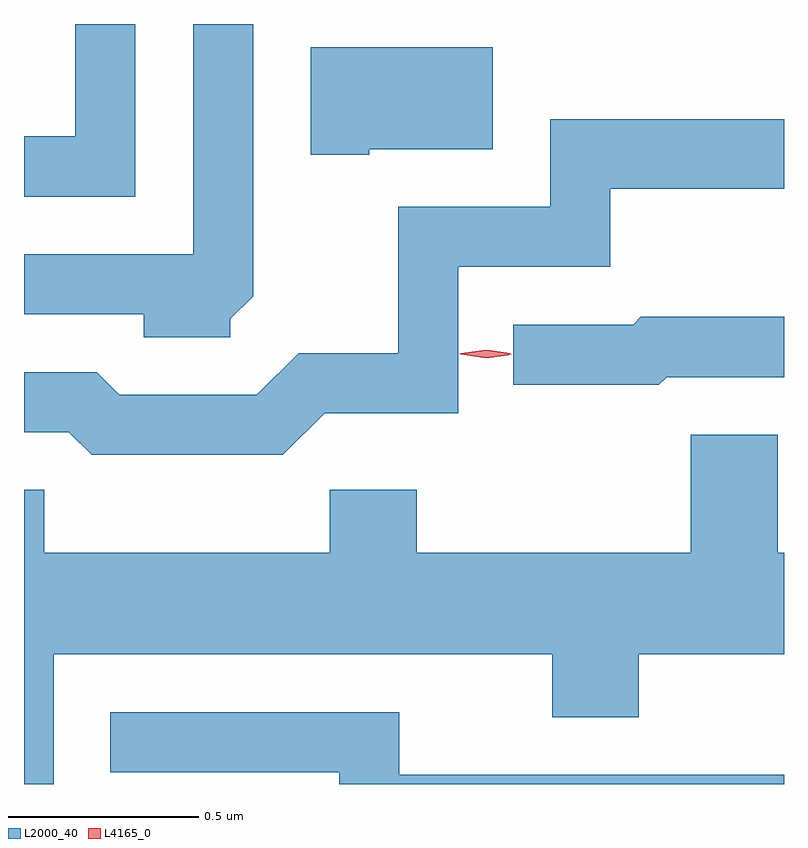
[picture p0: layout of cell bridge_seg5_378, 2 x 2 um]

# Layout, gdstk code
import gdstk
lib = gdstk.Library(unit=1e-6, precision=1e-09)
def P(c, l, *ps):  # polygons
    for p in ps: c.add(gdstk.Polygon(p, *l))
L2000_40 = (2000, 40)
L4165_0 = (4165, 0)

bridge_seg5_378 = lib.new_cell('bridge_seg5_378')
P(bridge_seg5_378, L2000_40, [(804.859,1445.135),(804.701,1445.135),(804.701,1444.839),(804.566,1444.839),(804.566,1444.681),(804.859,1444.681)],
  [(805.109,1444.359),(805.169,1444.419),(805.169,1445.135),(805.011,1445.135),(805.011,1444.529),(804.566,1444.529),(804.566,1444.371),(804.881,1444.371),(804.881,1444.311),(805.109,1444.311)],
  [(805.475,1444.806),(805.799,1444.806),(805.799,1445.074),(805.321,1445.074),(805.321,1444.791),(805.475,1444.791)],
  [(805.357,1444.111),(805.709,1444.111),(805.709,1444.496),(806.109,1444.496),(806.109,1444.701),(806.566,1444.701),(806.566,1444.884),(805.951,1444.884),(805.951,1444.654),(805.551,1444.654),(805.551,1444.269),(805.289,1444.269),(805.179,1444.159),(804.817,1444.159),(804.757,1444.219),(804.566,1444.219),(804.566,1444.061),(804.684,1444.061),(804.744,1444.001),(805.247,1444.001)],
  [(806.257,1444.206),(806.566,1444.206),(806.566,1444.364),(806.189,1444.364),(806.169,1444.344),(805.853,1444.344),(805.853,1444.186),(806.237,1444.186)],
  [(804.644,1443.476),(805.956,1443.476),(805.956,1443.311),(806.184,1443.311),(806.184,1443.476),(806.566,1443.476),(806.566,1443.744),(806.549,1443.744),(806.549,1444.054),(806.321,1444.054),(806.321,1443.744),(805.599,1443.744),(805.599,1443.909),(805.371,1443.909),(805.371,1443.744),(804.619,1443.744),(804.619,1443.909),(804.566,1443.909),(804.566,1443.135),(804.644,1443.135)],
  [(806.566,1443.159),(805.554,1443.159),(805.554,1443.324),(804.793,1443.324),(804.793,1443.166),(805.396,1443.166),(805.396,1443.135),(806.566,1443.135)])
P(bridge_seg5_378, L4165_0, [(805.782,1444.258),(805.716,1444.268),(805.716,1444.268),(805.716,1444.269),(805.782,1444.278),(805.847,1444.268),(805.847,1444.267),(805.847,1444.267)],
  [(805.782,1444.256),(805.714,1444.266),(805.713,1444.267),(805.714,1444.267),(805.782,1444.276),(805.85,1444.265),(805.85,1444.265),(805.85,1444.264)])

lib.write_gds('bridge_seg5_378.gds')
